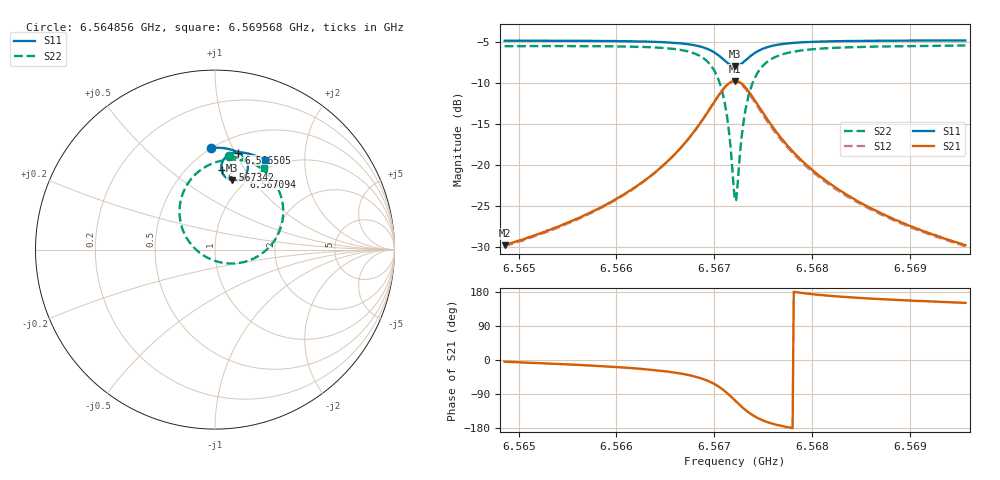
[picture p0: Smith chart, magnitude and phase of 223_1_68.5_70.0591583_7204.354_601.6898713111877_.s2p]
#  HZ  S  RI  R  50.00
! Rohde & Schwarz Vector Network Analyzer
! Rohde-Schwarz,ZNB20-2Port,1311601062101988,3.16
! Created: UTC 3/20/2024, 5:13:43 PM
! freq[Hz]  re:S11  im:S11  re:S21  im:S21  re:S12  im:S12  re:S22  im:S22
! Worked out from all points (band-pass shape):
!   401 points, 6.564856 GHz to 6.569568 GHz, reference 50 ohm
!   highest |S21| = -9.80 dB at 6.567212 GHz (marker M1); lowest = -29.8 dB at 6.564856 GHz (marker M2)
!   |S21| within 3 dB of the highest: 6.566978 GHz to 6.567449 GHz (470.5 kHz wide, 0.00716 % of centre)
!   lowest |S11| = -8.0 dB at 6.567212 GHz (marker M3), VSWR 2.31, Z = 43.3 + j39.6 ohm
!   |S11| at or under -10 dB: nowhere
!   |S22| runs from -24.4 to -5.5 dB; largest |S21 - S12| = 0.017
!   S11 on the Smith chart (normalised r, x): 6.564856 GHz: 0.49, +0.83; 6.566505 GHz: 0.66, +1.03; 6.567094 GHz: 0.93, +0.94; 6.567342 GHz: 0.72, +0.79; 6.569568 GHz: 0.88, +1.30
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6.564856e9  -0.0239 0.5685  0.0321 -0.00257  0.0317 -0.00313  0.0788 0.5209
6.5656453e9  0.0429 0.5659  0.0468 -0.0112  0.0462 -0.0118  0.1597 0.502
6.566093e9  0.0848 0.5583  0.0626 -0.023  0.0616 -0.0238  0.2191 0.4759
6.5664346e9  0.1217 0.5451  0.0829 -0.0438  0.0819 -0.0449  0.2797 0.4333
6.5665053e9  0.1302 0.5406  0.0887 -0.0512  0.0874 -0.0522  0.2949 0.4188
6.566741e9  0.1608 0.5163  0.111 -0.0928  0.1092 -0.0946  0.3519 0.3372
6.5669177e9  0.1812 0.4769  0.1207 -0.1618  0.1175 -0.1654  0.38 0.2041
6.5670237e9  0.1798 0.437  0.0997 -0.2318  0.0931 -0.2365  0.3437 0.0711
6.5670944e9  0.1617 0.4063  0.0536 -0.2839  0.0428 -0.2874  0.2571 -0.0254
6.5671415e9  0.1385 0.3901  0.00278 -0.3094  -0.0111 -0.3101  0.1619 -0.0691
6.5672004e9  0.0999 0.3843  -0.0767 -0.3138  -0.0917 -0.3081  0.0176 -0.0683
6.5672122e9  0.092 0.3858  -0.0928 -0.3101  -0.1074 -0.3028  -0.011 -0.0591
6.5672358e9  0.0768 0.3911  -0.1235 -0.2974  -0.137 -0.2879  -0.064 -0.0326
6.5672947e9  0.0477 0.4162  -0.1823 -0.2456  -0.1905 -0.232  -0.1597 0.0674
6.5673418e9  0.0367 0.4415  -0.2061 -0.1958  -0.2096 -0.1817  -0.1929 0.1585
6.567436e9  0.0399 0.4857  -0.2078 -0.1105  -0.2057 -0.0999  -0.1813 0.3071
6.5675774e9  0.0674 0.522  -0.1713 -0.0404  -0.1676 -0.0343  -0.1032 0.4249
6.5677424e9  0.0995 0.5377  -0.1316 -0.00696  -0.1283 -0.00397  -0.0211 0.4776
6.5680015e9  0.1385 0.5422  -0.0922 0.0102  -0.0899 0.0116  0.0658 0.5
6.5683668e9  0.1796 0.5368  -0.0629 0.0158  -0.0613 0.0166  0.1413 0.4986
6.5687909e9  0.2183 0.5253  -0.0448 0.0167  -0.0437 0.0171  0.1994 0.486
6.5695684e9  0.2783 0.4981  -0.0282 0.0158  -0.0276 0.0158  0.275 0.4546
